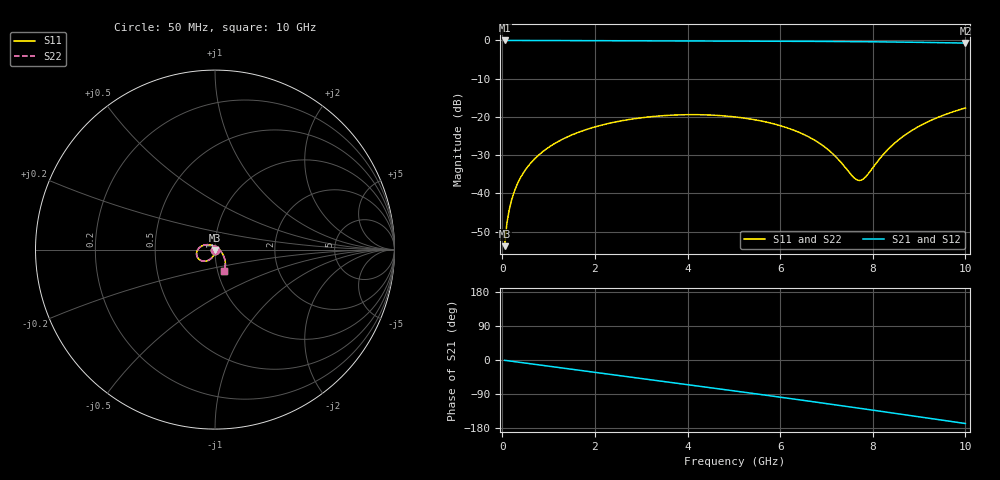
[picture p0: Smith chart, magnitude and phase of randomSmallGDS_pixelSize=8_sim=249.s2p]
! freq	dB(S11)	phase(S11)	dB(S12)	phase(S12)
!  dB(S21)	phase(S21)	dB(S22)	phase(S22)
!S-par simulation data
#  GHz  S  DB  R 50
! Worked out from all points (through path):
!   200 points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, 50 MHz to 10 GHz, reference 50 ohm
!   highest |S21| = 0.00 dB at 50 MHz (marker M1); lowest = -0.7 dB at 10 GHz (marker M2)
!   group delay of S21, straight-line fit = 46.4 ps
!   lowest |S11| = -53.8 dB at 50 MHz (marker M3), VSWR 1.00, Z = 50 - j0.205 ohm
!   |S11| at or under -10 dB: start of sweep to end of sweep
!   |S22| runs from -53.8 to -17.7 dB; largest |S21 - S12| = 0
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0.05  -53.79 -90.3  -0.00 -0.8  -0.00 -0.8  -53.79 -90.3
0.1  -47.77 -91.5  -0.00 -1.7  -0.00 -1.7  -47.77 -91.5
0.15  -44.24 -92.5  -0.01 -2.5  -0.01 -2.5  -44.24 -92.5
0.2  -41.75 -93.5  -0.01 -3.3  -0.01 -3.3  -41.75 -93.5
0.35  -36.89 -96.2  -0.01 -5.7  -0.01 -5.7  -36.89 -96.2
0.5  -33.81 -98.8  -0.01 -8.2  -0.01 -8.2  -33.81 -98.8
0.7  -30.94 -102.2  -0.02 -11.4  -0.02 -11.4  -30.94 -102.2
1  -27.95 -107.2  -0.02 -16.3  -0.02 -16.3  -27.95 -107.2
1.75  -23.55 -119.7  -0.05 -28.5  -0.05 -28.5  -23.55 -119.7
2.5  -21.18 -132.1  -0.08 -40.6  -0.08 -40.6  -21.18 -132.1
3.4  -19.73 -147.1  -0.11 -55.2  -0.11 -55.2  -19.73 -147.1
4.25  -19.41 -161.6  -0.14 -69.1  -0.14 -69.1  -19.41 -161.6
5.05  -20.03 -175.9  -0.17 -82.2  -0.17 -82.2  -20.03 -175.9
6  -22.27 165.3  -0.20 -98.0  -0.20 -98.0  -22.27 165.4
6.7  -25.76 147.7  -0.24 -109.9  -0.24 -109.9  -25.76 147.8
7.1  -29.22 132.2  -0.26 -116.7  -0.26 -116.7  -29.23 132.3
7.6  -35.95 81.0  -0.31 -125.4  -0.31 -125.4  -35.97 81.1
7.7  -36.61 59.7  -0.32 -127.1  -0.32 -127.1  -36.63 59.7
7.85  -35.62 27.5  -0.33 -129.7  -0.33 -129.7  -35.63 27.5
8.35  -28.22 -21.9  -0.39 -138.5  -0.39 -138.5  -28.22 -22.0
9.05  -22.12 -45.7  -0.50 -150.8  -0.50 -150.8  -22.12 -45.7
10  -17.66 -66.5  -0.69 -167.6  -0.69 -167.6  -17.66 -66.6
